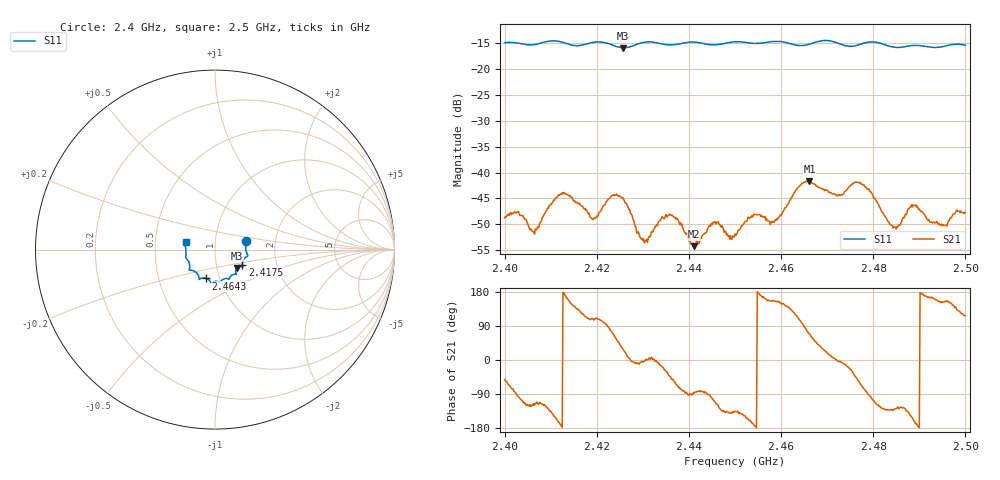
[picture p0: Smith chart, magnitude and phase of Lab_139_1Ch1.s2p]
# Hz S RI R 50
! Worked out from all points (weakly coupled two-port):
!   601 points, 2.4 GHz to 2.5 GHz, reference 50 ohm
!   highest |S21| = -41.70 dB at 2.4662 GHz (marker M1); lowest = -54.2 dB at 2.4412 GHz (marker M2)
!   lowest |S11| = -15.9 dB at 2.4257 GHz (marker M3), VSWR 1.38, Z = 62.5 - j13.1 ohm
!   |S11| at or under -10 dB: start of sweep to end of sweep
!   S12 and S22 are empty: the file has one direction only
!   S11 on the Smith chart (normalised r, x): 2.4 GHz: 1.41, +0.14; 2.4175 GHz: 1.34, -0.23; 2.4643 GHz: 0.86, -0.28; 2.5 GHz: 0.72, +0.06
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2.4e9  0.1731 0.0486  0.00226 -0.00287  0 0  0 0
2.406333e9  0.1717 -0.00238  -0.00112 -0.0024  0 0  0 0
2.412e9  0.1799 -0.0377  -0.00597 -0.00117  0 0  0 0
2.416667e9  0.1527 -0.0741  -0.0027 0.00395  0 0  0 0
2.4175e9  0.1518 -0.0836  -0.0019 0.00408  0 0  0 0
2.425667e9  0.123 -0.1024  0.00504 0.00272  0 0  0 0
2.43e9  0.1173 -0.1366  0.0022 -0.000213  0 0  0 0
2.433333e9  0.1128 -0.1372  0.0033 -0.00039  0 0  0 0
2.4365e9  0.0904 -0.1454  0.00241 -0.00296  0 0  0 0
2.441167e9  0.077 -0.165  0.000105 -0.00194  0 0  0 0
2.445667e9  0.0505 -0.1634  -0.00116 -0.00311  0 0  0 0
2.45e9  0.0289 -0.1809  -0.00183 -0.00179  0 0  0 0
2.454167e9  0.00892 -0.1765  -0.00394 -0.000524  0 0  0 0
2.458833e9  -0.0217 -0.1837  -0.0031 0.00147  0 0  0 0
2.464333e9  -0.0498 -0.1606  -0.00142 0.00749  0 0  0 0
2.466167e9  -0.0708 -0.1584  0.00301 0.00766  0 0  0 0
2.466667e9  -0.0757 -0.1594  0.00403 0.00685  0 0  0 0
2.4775e9  -0.1314 -0.1154  0.00284 -0.00716  0 0  0 0
2.483333e9  -0.1407 -0.0897  -0.00223 -0.00251  0 0  0 0
2.488833e9  -0.1625 -0.0466  -0.00455 -0.00153  0 0  0 0
2.4955e9  -0.1654 0.0151  -0.00276 0.00138  0 0  0 0
2.5e9  -0.164 0.043  -0.00189 0.00363  0 0  0 0
